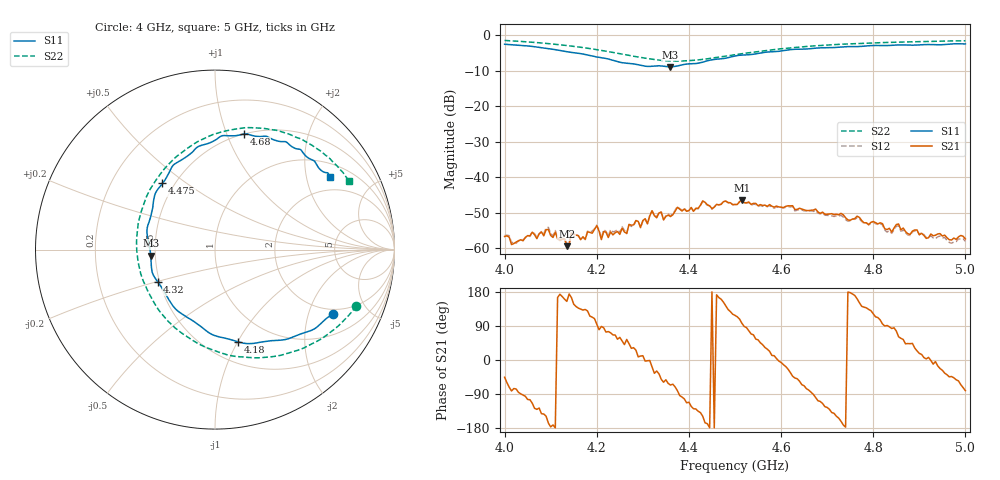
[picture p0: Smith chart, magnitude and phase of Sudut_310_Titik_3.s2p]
# Hz S RI R 50
! CMT, C1220, 16058040, 17.2.0/1
! Date: 15/08/2018 12:42:01
! Data: Format (Calibration Info)
! Freq  S11: Re/Im (F2)  S21: Re/Im (F2)  S12: Re/Im (F2)  S22: Re/Im (F2)
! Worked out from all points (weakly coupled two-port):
!   201 points, 4 GHz to 5 GHz, reference 50 ohm
!   highest |S21| = -46.56 dB at 4.515 GHz (marker M1); lowest = -59.4 dB at 4.135 GHz (marker M2)
!   lowest |S11| = -8.9 dB at 4.36 GHz (marker M3), VSWR 2.12, Z = 23.6 - j1.88 ohm
!   |S11| at or under -10 dB: nowhere
!   |S22| runs from -7.3 to -1.4 dB; largest |S21 - S12| = 0.00023
!   S11 on the Smith chart (normalised r, x): 4 GHz: 1.79, -2.93; 4.18 GHz: 0.70, -1.00; 4.32 GHz: 0.49, -0.20; 4.475 GHz: 0.43, +0.41; 4.68 GHz: 0.50, +1.15; 5 GHz: 1.45, +2.75
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4e9  0.6589 -0.3575  0.00102 -0.00104  0.0011 -0.00103  0.7868 -0.3131
4.025e9  0.6115 -0.3916  0.000285 -0.00119  0.000266 -0.00114  0.7431 -0.3689
4.095e9  0.4256 -0.4904  -0.00178 -0.000427  -0.00189 -0.000538  0.572 -0.5089
4.135e9  0.2917 -0.5102  -0.000963 0.000456  -0.000996 0.000581  0.4401 -0.5673
4.145e9  0.2518 -0.5159  -0.00155 0.000423  -0.0016 0.000427  0.4026 -0.5789
4.17e9  0.1598 -0.5215  -0.000964 0.00108  -0.00097 0.00103  0.3086 -0.5977
4.18e9  0.1268 -0.5135  -0.00108 0.00131  -0.00117 0.00128  0.2669 -0.6008
4.21e9  0.0148 -0.4841  3.32e-05 0.00132  -2.24e-05 0.00139  0.1395 -0.5973
4.265e9  -0.1768 -0.3635  0.000943 0.00131  0.001 0.00125  -0.1011 -0.5196
4.285e9  -0.2358 -0.3117  0.00221 0.00107  0.0022 0.00101  -0.1863 -0.4647
4.31e9  -0.2934 -0.2165  0.00221 -7.45e-05  0.0022 2.99e-05  -0.2785 -0.3796
4.32e9  -0.32 -0.1791  0.0032 -0.00105  0.00321 -0.000956  -0.3114 -0.3398
4.335e9  -0.3491 -0.129  0.00252 -0.00186  0.00256 -0.0019  -0.3517 -0.2738
4.36e9  -0.3576 -0.0347  0.00113 -0.00255  0.00112 -0.00262  -0.4067 -0.1569
4.375e9  -0.368 0.0356  0.000593 -0.00372  0.000435 -0.00384  -0.4258 -0.0816
4.475e9  -0.2933 0.3692  -0.00402 0.00208  -0.00398 0.00216  -0.3381 0.3722
4.5e9  -0.247 0.4475  -0.00192 0.00366  -0.00184 0.00368  -0.279 0.4533
4.515e9  -0.2256 0.4764  -0.000563 0.00466  -0.000474 0.00463  -0.2387 0.4962
4.67e9  0.1418 0.6393  -3.7e-05 -0.00344  -0.000124 -0.0033  0.203 0.6792
4.68e9  0.1601 0.6438  -0.00097 -0.00309  -0.000965 -0.00296  0.2301 0.6778
4.835e9  0.4465 0.5639  7.65e-05 0.0019  5.8e-05 0.00177  0.5484 0.576
5e9  0.6392 0.4048  0.000217 -0.00133  0.000274 -0.00121  0.7453 0.3847
